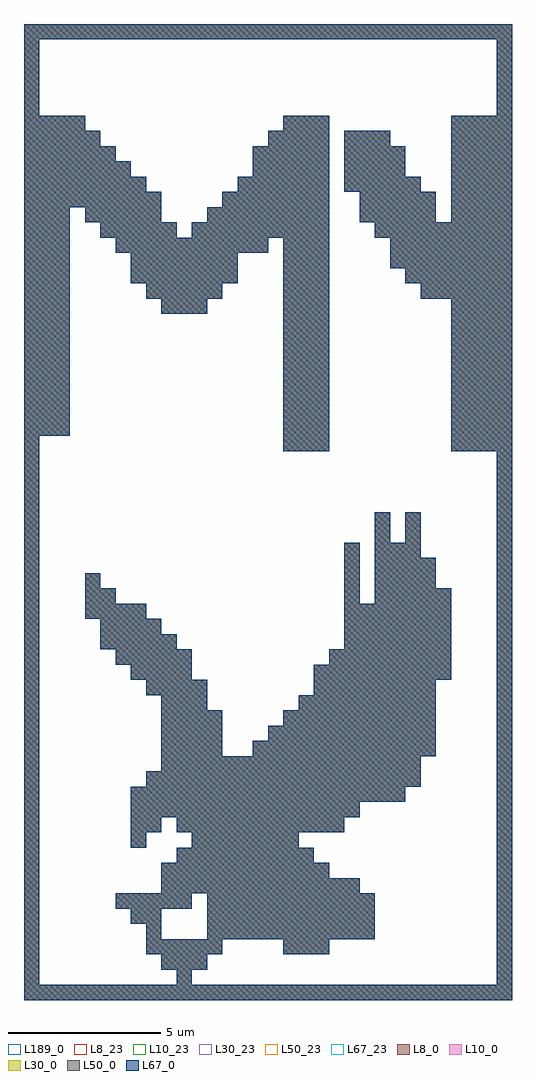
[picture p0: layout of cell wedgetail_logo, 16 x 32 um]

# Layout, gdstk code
import gdstk
lib = gdstk.Library(unit=1e-6, precision=1e-09)
def R(c, l, rs):  # rectangles x0, y0, x1, y1
    for r in rs: c.add(gdstk.rectangle(r[:2], r[2:], *l))
def A(c, l, x, y, w, h, nx, ny, dx, dy):  # array of equal rectangles
    R(c, l, [(x+i*dx, y+j*dy, x+i*dx+w, y+j*dy+h) for i in range(nx) for j in range(ny)])
L8_0 = (8, 0)
L8_23 = (8, 23)
L10_0 = (10, 0)
L10_23 = (10, 23)
L30_0 = (30, 0)
L30_23 = (30, 23)
L50_0 = (50, 0)
L50_23 = (50, 23)
L67_0 = (67, 0)
L67_23 = (67, 23)
L189_0 = (189, 0)

wedgetail_logo = lib.new_cell('wedgetail_logo')
A(wedgetail_logo, L8_0, 0, 0, 0.5, 0.5, 32, 2, 0.5, 31.5)
A(wedgetail_logo, L8_0, 0, 0.5, 0.5, 0.5, 1, 36, 0, 0.5)
A(wedgetail_logo, L8_0, 15.5, 0.5, 0.5, 0.5, 1, 35, 0, 0.5)
A(wedgetail_logo, L8_0, 4.5, 1, 0.5, 0.5, 3, 2, 0.5, 8.5)
A(wedgetail_logo, L8_0, 4, 1.5, 0.5, 0.5, 5, 2, 0.5, 21.5)
A(wedgetail_logo, L8_0, 8.5, 1.5, 0.5, 0.5, 3, 2, 0.5, 16.5)
A(wedgetail_logo, L8_0, 6, 2, 0.5, 0.5, 11, 3, 0.5, 0.5)
A(wedgetail_logo, L8_0, 3, 3, 0.5, 0.5, 5, 2, 0.5, 8)
A(wedgetail_logo, L8_0, 4.5, 3.5, 0.5, 0.5, 13, 1, 0.5, 0)
A(wedgetail_logo, L8_0, 4.5, 4, 0.5, 0.5, 11, 1, 0.5, 0)
A(wedgetail_logo, L8_0, 5, 4.5, 0.5, 0.5, 9, 1, 0.5, 0)
A(wedgetail_logo, L8_0, 5.5, 5, 0.5, 0.5, 7, 1, 0.5, 0)
A(wedgetail_logo, L8_0, 5, 5.5, 0.5, 0.5, 11, 1, 0.5, 0)
A(wedgetail_logo, L8_0, 3.5, 6, 0.5, 0.5, 15, 1, 0.5, 0)
A(wedgetail_logo, L8_0, 3.5, 6.5, 0.5, 0.5, 18, 1, 0.5, 0)
A(wedgetail_logo, L8_0, 4, 7, 0.5, 0.5, 18, 1, 0.5, 0)
A(wedgetail_logo, L8_0, 4.5, 7.5, 0.5, 0.5, 17, 1, 0.5, 0)
A(wedgetail_logo, L8_0, 4.5, 8, 0.5, 0.5, 4, 3, 0.5, 0.5)
A(wedgetail_logo, L8_0, 7.5, 8, 0.5, 0.5, 12, 1, 0.5, 0)
A(wedgetail_logo, L8_0, 8, 8.5, 0.5, 0.5, 11, 1, 0.5, 0)
A(wedgetail_logo, L8_0, 8.5, 9, 0.5, 0.5, 10, 1, 0.5, 0)
A(wedgetail_logo, L8_0, 9, 9.5, 0.5, 0.5, 9, 1, 0.5, 0)
A(wedgetail_logo, L8_0, 4, 10, 0.5, 0.5, 4, 1, 0.5, 0)
A(wedgetail_logo, L8_0, 9.5, 10, 0.5, 0.5, 8, 1, 0.5, 0)
A(wedgetail_logo, L8_0, 3.5, 10.5, 0.5, 0.5, 4, 1, 0.5, 0)
A(wedgetail_logo, L8_0, 9.5, 10.5, 0.5, 0.5, 9, 1, 0.5, 0)
A(wedgetail_logo, L8_0, 10, 11, 0.5, 0.5, 8, 1, 0.5, 0)
A(wedgetail_logo, L8_0, 2.5, 11.5, 0.5, 0.5, 5, 2, 0.5, 13.5)
A(wedgetail_logo, L8_0, 10.5, 11.5, 0.5, 0.5, 7, 3, 0.5, 0.5)
A(wedgetail_logo, L8_0, 2.5, 12, 0.5, 0.5, 4, 1, 0.5, 0)
A(wedgetail_logo, L8_0, 2, 12.5, 0.5, 0.5, 4, 1, 0.5, 0)
A(wedgetail_logo, L8_0, 10.5, 13, 0.5, 0.5, 1, 4, 0, 0.5)
A(wedgetail_logo, L8_0, 11.5, 13, 0.5, 0.5, 5, 1, 0.5, 0)
A(wedgetail_logo, L8_0, 11.5, 13.5, 0.5, 0.5, 4, 2, 0.5, 0.5)
A(wedgetail_logo, L8_0, 11.5, 14.5, 0.5, 0.5, 3, 1, 0.5, 0)
A(wedgetail_logo, L8_0, 14, 18, 0.5, 0.5, 4, 10, 0.5, 0.5)
A(wedgetail_logo, L8_0, 0, 18.5, 0.5, 0.5, 3, 15, 0.5, 0.5)
A(wedgetail_logo, L8_0, 8.5, 18.5, 0.5, 0.5, 3, 13, 0.5, 0.5)
A(wedgetail_logo, L8_0, 4.5, 22.5, 0.5, 0.5, 3, 1, 0.5, 0)
A(wedgetail_logo, L8_0, 13, 23, 0.5, 0.5, 6, 1, 0.5, 0)
A(wedgetail_logo, L8_0, 3.5, 23.5, 0.5, 0.5, 7, 2, 0.5, 0.5)
A(wedgetail_logo, L8_0, 12.5, 23.5, 0.5, 0.5, 7, 1, 0.5, 0)
A(wedgetail_logo, L8_0, 12, 24, 0.5, 0.5, 8, 2, 0.5, 0.5)
A(wedgetail_logo, L8_0, 3, 24.5, 0.5, 0.5, 10, 1, 0.5, 0)
A(wedgetail_logo, L8_0, 5.5, 25, 0.5, 0.5, 9, 1, 0.5, 0)
A(wedgetail_logo, L8_0, 11.5, 25, 0.5, 0.5, 9, 1, 0.5, 0)
A(wedgetail_logo, L8_0, 2, 25.5, 0.5, 0.5, 5, 1, 0.5, 0)
A(wedgetail_logo, L8_0, 6, 25.5, 0.5, 0.5, 8, 1, 0.5, 0)
A(wedgetail_logo, L8_0, 11, 25.5, 0.5, 0.5, 5, 2, 0.5, 0.5)
A(wedgetail_logo, L8_0, 14, 25.5, 0.5, 0.5, 4, 7, 0.5, 0.5)
A(wedgetail_logo, L8_0, 0, 26, 0.5, 0.5, 9, 1, 0.5, 0)
A(wedgetail_logo, L8_0, 6.5, 26, 0.5, 0.5, 7, 1, 0.5, 0)
A(wedgetail_logo, L8_0, 0, 26.5, 0.5, 0.5, 8, 1, 0.5, 0)
A(wedgetail_logo, L8_0, 7, 26.5, 0.5, 0.5, 6, 1, 0.5, 0)
A(wedgetail_logo, L8_0, 10.5, 26.5, 0.5, 0.5, 5, 1, 0.5, 0)
A(wedgetail_logo, L8_0, 0, 27, 0.5, 0.5, 7, 1, 0.5, 0)
A(wedgetail_logo, L8_0, 7.5, 27, 0.5, 0.5, 5, 2, 0.5, 0.5)
A(wedgetail_logo, L8_0, 10.5, 27, 0.5, 0.5, 4, 2, 0.5, 0.5)
A(wedgetail_logo, L8_0, 0, 27.5, 0.5, 0.5, 6, 1, 0.5, 0)
A(wedgetail_logo, L8_0, 0, 28, 0.5, 0.5, 5, 1, 0.5, 0)
A(wedgetail_logo, L8_0, 8, 28, 0.5, 0.5, 4, 1, 0.5, 0)
A(wedgetail_logo, L8_0, 10.5, 28, 0.5, 0.5, 3, 1, 0.5, 0)
A(wedgetail_logo, L8_0, 0, 28.5, 0.5, 0.5, 4, 1, 0.5, 0)
A(wedgetail_logo, L8_0, 8.5, 28.5, 0.5, 0.5, 3, 1, 0.5, 0)
A(wedgetail_logo, L8_0, 0, 29, 0.5, 0.5, 1, 5, 0, 0.5)
A(wedgetail_logo, L8_0, 15.5, 29, 0.5, 0.5, 1, 5, 0, 0.5)
R(wedgetail_logo, L8_0, [(5,0.5,5.5,1), (4,2,4.5,2.5), (3.5,2.5,4,3), (4,2.5,4.5,3), (3.5,5,4,5.5), (3.5,5.5,4,6), (4,5.5,4.5,6), (2,13,2.5,13.5), (2.5,13,3,13.5), (2,13.5,2.5,14), (11.5,15,12,15.5), (12.5,15,13,15.5), (11.5,15.5,12,16), (12.5,15.5,13,16)])
R(wedgetail_logo, L8_23, [(0,0,16,32)])
A(wedgetail_logo, L10_0, 0, 0, 0.5, 0.5, 32, 2, 0.5, 31.5)
A(wedgetail_logo, L10_0, 0, 0.5, 0.5, 0.5, 1, 36, 0, 0.5)
A(wedgetail_logo, L10_0, 15.5, 0.5, 0.5, 0.5, 1, 35, 0, 0.5)
A(wedgetail_logo, L10_0, 4.5, 1, 0.5, 0.5, 3, 2, 0.5, 8.5)
A(wedgetail_logo, L10_0, 4, 1.5, 0.5, 0.5, 5, 2, 0.5, 21.5)
A(wedgetail_logo, L10_0, 8.5, 1.5, 0.5, 0.5, 3, 2, 0.5, 16.5)
A(wedgetail_logo, L10_0, 6, 2, 0.5, 0.5, 11, 3, 0.5, 0.5)
A(wedgetail_logo, L10_0, 3, 3, 0.5, 0.5, 5, 2, 0.5, 8)
A(wedgetail_logo, L10_0, 4.5, 3.5, 0.5, 0.5, 13, 1, 0.5, 0)
A(wedgetail_logo, L10_0, 4.5, 4, 0.5, 0.5, 11, 1, 0.5, 0)
A(wedgetail_logo, L10_0, 5, 4.5, 0.5, 0.5, 9, 1, 0.5, 0)
A(wedgetail_logo, L10_0, 5.5, 5, 0.5, 0.5, 7, 1, 0.5, 0)
A(wedgetail_logo, L10_0, 5, 5.5, 0.5, 0.5, 11, 1, 0.5, 0)
A(wedgetail_logo, L10_0, 3.5, 6, 0.5, 0.5, 15, 1, 0.5, 0)
A(wedgetail_logo, L10_0, 3.5, 6.5, 0.5, 0.5, 18, 1, 0.5, 0)
A(wedgetail_logo, L10_0, 4, 7, 0.5, 0.5, 18, 1, 0.5, 0)
A(wedgetail_logo, L10_0, 4.5, 7.5, 0.5, 0.5, 17, 1, 0.5, 0)
A(wedgetail_logo, L10_0, 4.5, 8, 0.5, 0.5, 4, 3, 0.5, 0.5)
A(wedgetail_logo, L10_0, 7.5, 8, 0.5, 0.5, 12, 1, 0.5, 0)
A(wedgetail_logo, L10_0, 8, 8.5, 0.5, 0.5, 11, 1, 0.5, 0)
A(wedgetail_logo, L10_0, 8.5, 9, 0.5, 0.5, 10, 1, 0.5, 0)
A(wedgetail_logo, L10_0, 9, 9.5, 0.5, 0.5, 9, 1, 0.5, 0)
A(wedgetail_logo, L10_0, 4, 10, 0.5, 0.5, 4, 1, 0.5, 0)
A(wedgetail_logo, L10_0, 9.5, 10, 0.5, 0.5, 8, 1, 0.5, 0)
A(wedgetail_logo, L10_0, 3.5, 10.5, 0.5, 0.5, 4, 1, 0.5, 0)
A(wedgetail_logo, L10_0, 9.5, 10.5, 0.5, 0.5, 9, 1, 0.5, 0)
A(wedgetail_logo, L10_0, 10, 11, 0.5, 0.5, 8, 1, 0.5, 0)
A(wedgetail_logo, L10_0, 2.5, 11.5, 0.5, 0.5, 5, 2, 0.5, 13.5)
A(wedgetail_logo, L10_0, 10.5, 11.5, 0.5, 0.5, 7, 3, 0.5, 0.5)
A(wedgetail_logo, L10_0, 2.5, 12, 0.5, 0.5, 4, 1, 0.5, 0)
A(wedgetail_logo, L10_0, 2, 12.5, 0.5, 0.5, 4, 1, 0.5, 0)
A(wedgetail_logo, L10_0, 10.5, 13, 0.5, 0.5, 1, 4, 0, 0.5)
A(wedgetail_logo, L10_0, 11.5, 13, 0.5, 0.5, 5, 1, 0.5, 0)
A(wedgetail_logo, L10_0, 11.5, 13.5, 0.5, 0.5, 4, 2, 0.5, 0.5)
A(wedgetail_logo, L10_0, 11.5, 14.5, 0.5, 0.5, 3, 1, 0.5, 0)
A(wedgetail_logo, L10_0, 14, 18, 0.5, 0.5, 4, 10, 0.5, 0.5)
A(wedgetail_logo, L10_0, 0, 18.5, 0.5, 0.5, 3, 15, 0.5, 0.5)
A(wedgetail_logo, L10_0, 8.5, 18.5, 0.5, 0.5, 3, 13, 0.5, 0.5)
A(wedgetail_logo, L10_0, 4.5, 22.5, 0.5, 0.5, 3, 1, 0.5, 0)
A(wedgetail_logo, L10_0, 13, 23, 0.5, 0.5, 6, 1, 0.5, 0)
A(wedgetail_logo, L10_0, 3.5, 23.5, 0.5, 0.5, 7, 2, 0.5, 0.5)
A(wedgetail_logo, L10_0, 12.5, 23.5, 0.5, 0.5, 7, 1, 0.5, 0)
A(wedgetail_logo, L10_0, 12, 24, 0.5, 0.5, 8, 2, 0.5, 0.5)
A(wedgetail_logo, L10_0, 3, 24.5, 0.5, 0.5, 10, 1, 0.5, 0)
A(wedgetail_logo, L10_0, 5.5, 25, 0.5, 0.5, 9, 1, 0.5, 0)
A(wedgetail_logo, L10_0, 11.5, 25, 0.5, 0.5, 9, 1, 0.5, 0)
A(wedgetail_logo, L10_0, 2, 25.5, 0.5, 0.5, 5, 1, 0.5, 0)
A(wedgetail_logo, L10_0, 6, 25.5, 0.5, 0.5, 8, 1, 0.5, 0)
A(wedgetail_logo, L10_0, 11, 25.5, 0.5, 0.5, 5, 2, 0.5, 0.5)
A(wedgetail_logo, L10_0, 14, 25.5, 0.5, 0.5, 4, 7, 0.5, 0.5)
A(wedgetail_logo, L10_0, 0, 26, 0.5, 0.5, 9, 1, 0.5, 0)
A(wedgetail_logo, L10_0, 6.5, 26, 0.5, 0.5, 7, 1, 0.5, 0)
A(wedgetail_logo, L10_0, 0, 26.5, 0.5, 0.5, 8, 1, 0.5, 0)
A(wedgetail_logo, L10_0, 7, 26.5, 0.5, 0.5, 6, 1, 0.5, 0)
A(wedgetail_logo, L10_0, 10.5, 26.5, 0.5, 0.5, 5, 1, 0.5, 0)
A(wedgetail_logo, L10_0, 0, 27, 0.5, 0.5, 7, 1, 0.5, 0)
A(wedgetail_logo, L10_0, 7.5, 27, 0.5, 0.5, 5, 2, 0.5, 0.5)
A(wedgetail_logo, L10_0, 10.5, 27, 0.5, 0.5, 4, 2, 0.5, 0.5)
A(wedgetail_logo, L10_0, 0, 27.5, 0.5, 0.5, 6, 1, 0.5, 0)
A(wedgetail_logo, L10_0, 0, 28, 0.5, 0.5, 5, 1, 0.5, 0)
A(wedgetail_logo, L10_0, 8, 28, 0.5, 0.5, 4, 1, 0.5, 0)
A(wedgetail_logo, L10_0, 10.5, 28, 0.5, 0.5, 3, 1, 0.5, 0)
A(wedgetail_logo, L10_0, 0, 28.5, 0.5, 0.5, 4, 1, 0.5, 0)
A(wedgetail_logo, L10_0, 8.5, 28.5, 0.5, 0.5, 3, 1, 0.5, 0)
A(wedgetail_logo, L10_0, 0, 29, 0.5, 0.5, 1, 5, 0, 0.5)
A(wedgetail_logo, L10_0, 15.5, 29, 0.5, 0.5, 1, 5, 0, 0.5)
R(wedgetail_logo, L10_0, [(5,0.5,5.5,1), (4,2,4.5,2.5), (3.5,2.5,4,3), (4,2.5,4.5,3), (3.5,5,4,5.5), (3.5,5.5,4,6), (4,5.5,4.5,6), (2,13,2.5,13.5), (2.5,13,3,13.5), (2,13.5,2.5,14), (11.5,15,12,15.5), (12.5,15,13,15.5), (11.5,15.5,12,16), (12.5,15.5,13,16)])
R(wedgetail_logo, L10_23, [(0,0,16,32)])
A(wedgetail_logo, L30_0, 0, 0, 0.5, 0.5, 32, 2, 0.5, 31.5)
A(wedgetail_logo, L30_0, 0, 0.5, 0.5, 0.5, 1, 36, 0, 0.5)
A(wedgetail_logo, L30_0, 15.5, 0.5, 0.5, 0.5, 1, 35, 0, 0.5)
A(wedgetail_logo, L30_0, 4.5, 1, 0.5, 0.5, 3, 2, 0.5, 8.5)
A(wedgetail_logo, L30_0, 4, 1.5, 0.5, 0.5, 5, 2, 0.5, 21.5)
A(wedgetail_logo, L30_0, 8.5, 1.5, 0.5, 0.5, 3, 2, 0.5, 16.5)
A(wedgetail_logo, L30_0, 6, 2, 0.5, 0.5, 11, 3, 0.5, 0.5)
A(wedgetail_logo, L30_0, 3, 3, 0.5, 0.5, 5, 2, 0.5, 8)
A(wedgetail_logo, L30_0, 4.5, 3.5, 0.5, 0.5, 13, 1, 0.5, 0)
A(wedgetail_logo, L30_0, 4.5, 4, 0.5, 0.5, 11, 1, 0.5, 0)
A(wedgetail_logo, L30_0, 5, 4.5, 0.5, 0.5, 9, 1, 0.5, 0)
A(wedgetail_logo, L30_0, 5.5, 5, 0.5, 0.5, 7, 1, 0.5, 0)
A(wedgetail_logo, L30_0, 5, 5.5, 0.5, 0.5, 11, 1, 0.5, 0)
A(wedgetail_logo, L30_0, 3.5, 6, 0.5, 0.5, 15, 1, 0.5, 0)
A(wedgetail_logo, L30_0, 3.5, 6.5, 0.5, 0.5, 18, 1, 0.5, 0)
A(wedgetail_logo, L30_0, 4, 7, 0.5, 0.5, 18, 1, 0.5, 0)
A(wedgetail_logo, L30_0, 4.5, 7.5, 0.5, 0.5, 17, 1, 0.5, 0)
A(wedgetail_logo, L30_0, 4.5, 8, 0.5, 0.5, 4, 3, 0.5, 0.5)
A(wedgetail_logo, L30_0, 7.5, 8, 0.5, 0.5, 12, 1, 0.5, 0)
A(wedgetail_logo, L30_0, 8, 8.5, 0.5, 0.5, 11, 1, 0.5, 0)
A(wedgetail_logo, L30_0, 8.5, 9, 0.5, 0.5, 10, 1, 0.5, 0)
A(wedgetail_logo, L30_0, 9, 9.5, 0.5, 0.5, 9, 1, 0.5, 0)
A(wedgetail_logo, L30_0, 4, 10, 0.5, 0.5, 4, 1, 0.5, 0)
A(wedgetail_logo, L30_0, 9.5, 10, 0.5, 0.5, 8, 1, 0.5, 0)
A(wedgetail_logo, L30_0, 3.5, 10.5, 0.5, 0.5, 4, 1, 0.5, 0)
A(wedgetail_logo, L30_0, 9.5, 10.5, 0.5, 0.5, 9, 1, 0.5, 0)
A(wedgetail_logo, L30_0, 10, 11, 0.5, 0.5, 8, 1, 0.5, 0)
A(wedgetail_logo, L30_0, 2.5, 11.5, 0.5, 0.5, 5, 2, 0.5, 13.5)
A(wedgetail_logo, L30_0, 10.5, 11.5, 0.5, 0.5, 7, 3, 0.5, 0.5)
A(wedgetail_logo, L30_0, 2.5, 12, 0.5, 0.5, 4, 1, 0.5, 0)
A(wedgetail_logo, L30_0, 2, 12.5, 0.5, 0.5, 4, 1, 0.5, 0)
A(wedgetail_logo, L30_0, 10.5, 13, 0.5, 0.5, 1, 4, 0, 0.5)
A(wedgetail_logo, L30_0, 11.5, 13, 0.5, 0.5, 5, 1, 0.5, 0)
A(wedgetail_logo, L30_0, 11.5, 13.5, 0.5, 0.5, 4, 2, 0.5, 0.5)
A(wedgetail_logo, L30_0, 11.5, 14.5, 0.5, 0.5, 3, 1, 0.5, 0)
A(wedgetail_logo, L30_0, 14, 18, 0.5, 0.5, 4, 10, 0.5, 0.5)
A(wedgetail_logo, L30_0, 0, 18.5, 0.5, 0.5, 3, 15, 0.5, 0.5)
A(wedgetail_logo, L30_0, 8.5, 18.5, 0.5, 0.5, 3, 13, 0.5, 0.5)
A(wedgetail_logo, L30_0, 4.5, 22.5, 0.5, 0.5, 3, 1, 0.5, 0)
A(wedgetail_logo, L30_0, 13, 23, 0.5, 0.5, 6, 1, 0.5, 0)
A(wedgetail_logo, L30_0, 3.5, 23.5, 0.5, 0.5, 7, 2, 0.5, 0.5)
A(wedgetail_logo, L30_0, 12.5, 23.5, 0.5, 0.5, 7, 1, 0.5, 0)
A(wedgetail_logo, L30_0, 12, 24, 0.5, 0.5, 8, 2, 0.5, 0.5)
A(wedgetail_logo, L30_0, 3, 24.5, 0.5, 0.5, 10, 1, 0.5, 0)
A(wedgetail_logo, L30_0, 5.5, 25, 0.5, 0.5, 9, 1, 0.5, 0)
A(wedgetail_logo, L30_0, 11.5, 25, 0.5, 0.5, 9, 1, 0.5, 0)
A(wedgetail_logo, L30_0, 2, 25.5, 0.5, 0.5, 5, 1, 0.5, 0)
A(wedgetail_logo, L30_0, 6, 25.5, 0.5, 0.5, 8, 1, 0.5, 0)
A(wedgetail_logo, L30_0, 11, 25.5, 0.5, 0.5, 5, 2, 0.5, 0.5)
A(wedgetail_logo, L30_0, 14, 25.5, 0.5, 0.5, 4, 7, 0.5, 0.5)
A(wedgetail_logo, L30_0, 0, 26, 0.5, 0.5, 9, 1, 0.5, 0)
A(wedgetail_logo, L30_0, 6.5, 26, 0.5, 0.5, 7, 1, 0.5, 0)
A(wedgetail_logo, L30_0, 0, 26.5, 0.5, 0.5, 8, 1, 0.5, 0)
A(wedgetail_logo, L30_0, 7, 26.5, 0.5, 0.5, 6, 1, 0.5, 0)
A(wedgetail_logo, L30_0, 10.5, 26.5, 0.5, 0.5, 5, 1, 0.5, 0)
A(wedgetail_logo, L30_0, 0, 27, 0.5, 0.5, 7, 1, 0.5, 0)
A(wedgetail_logo, L30_0, 7.5, 27, 0.5, 0.5, 5, 2, 0.5, 0.5)
A(wedgetail_logo, L30_0, 10.5, 27, 0.5, 0.5, 4, 2, 0.5, 0.5)
A(wedgetail_logo, L30_0, 0, 27.5, 0.5, 0.5, 6, 1, 0.5, 0)
A(wedgetail_logo, L30_0, 0, 28, 0.5, 0.5, 5, 1, 0.5, 0)
A(wedgetail_logo, L30_0, 8, 28, 0.5, 0.5, 4, 1, 0.5, 0)
A(wedgetail_logo, L30_0, 10.5, 28, 0.5, 0.5, 3, 1, 0.5, 0)
A(wedgetail_logo, L30_0, 0, 28.5, 0.5, 0.5, 4, 1, 0.5, 0)
A(wedgetail_logo, L30_0, 8.5, 28.5, 0.5, 0.5, 3, 1, 0.5, 0)
A(wedgetail_logo, L30_0, 0, 29, 0.5, 0.5, 1, 5, 0, 0.5)
A(wedgetail_logo, L30_0, 15.5, 29, 0.5, 0.5, 1, 5, 0, 0.5)
R(wedgetail_logo, L30_0, [(5,0.5,5.5,1), (4,2,4.5,2.5), (3.5,2.5,4,3), (4,2.5,4.5,3), (3.5,5,4,5.5), (3.5,5.5,4,6), (4,5.5,4.5,6), (2,13,2.5,13.5), (2.5,13,3,13.5), (2,13.5,2.5,14), (11.5,15,12,15.5), (12.5,15,13,15.5), (11.5,15.5,12,16), (12.5,15.5,13,16)])
R(wedgetail_logo, L30_23, [(0,0,16,32)])
A(wedgetail_logo, L50_0, 0, 0, 0.5, 0.5, 32, 2, 0.5, 31.5)
A(wedgetail_logo, L50_0, 0, 0.5, 0.5, 0.5, 1, 36, 0, 0.5)
A(wedgetail_logo, L50_0, 15.5, 0.5, 0.5, 0.5, 1, 35, 0, 0.5)
A(wedgetail_logo, L50_0, 4.5, 1, 0.5, 0.5, 3, 2, 0.5, 8.5)
A(wedgetail_logo, L50_0, 4, 1.5, 0.5, 0.5, 5, 2, 0.5, 21.5)
A(wedgetail_logo, L50_0, 8.5, 1.5, 0.5, 0.5, 3, 2, 0.5, 16.5)
A(wedgetail_logo, L50_0, 6, 2, 0.5, 0.5, 11, 3, 0.5, 0.5)
A(wedgetail_logo, L50_0, 3, 3, 0.5, 0.5, 5, 2, 0.5, 8)
A(wedgetail_logo, L50_0, 4.5, 3.5, 0.5, 0.5, 13, 1, 0.5, 0)
A(wedgetail_logo, L50_0, 4.5, 4, 0.5, 0.5, 11, 1, 0.5, 0)
A(wedgetail_logo, L50_0, 5, 4.5, 0.5, 0.5, 9, 1, 0.5, 0)
A(wedgetail_logo, L50_0, 5.5, 5, 0.5, 0.5, 7, 1, 0.5, 0)
A(wedgetail_logo, L50_0, 5, 5.5, 0.5, 0.5, 11, 1, 0.5, 0)
A(wedgetail_logo, L50_0, 3.5, 6, 0.5, 0.5, 15, 1, 0.5, 0)
A(wedgetail_logo, L50_0, 3.5, 6.5, 0.5, 0.5, 18, 1, 0.5, 0)
A(wedgetail_logo, L50_0, 4, 7, 0.5, 0.5, 18, 1, 0.5, 0)
A(wedgetail_logo, L50_0, 4.5, 7.5, 0.5, 0.5, 17, 1, 0.5, 0)
A(wedgetail_logo, L50_0, 4.5, 8, 0.5, 0.5, 4, 3, 0.5, 0.5)
A(wedgetail_logo, L50_0, 7.5, 8, 0.5, 0.5, 12, 1, 0.5, 0)
A(wedgetail_logo, L50_0, 8, 8.5, 0.5, 0.5, 11, 1, 0.5, 0)
A(wedgetail_logo, L50_0, 8.5, 9, 0.5, 0.5, 10, 1, 0.5, 0)
A(wedgetail_logo, L50_0, 9, 9.5, 0.5, 0.5, 9, 1, 0.5, 0)
A(wedgetail_logo, L50_0, 4, 10, 0.5, 0.5, 4, 1, 0.5, 0)
A(wedgetail_logo, L50_0, 9.5, 10, 0.5, 0.5, 8, 1, 0.5, 0)
A(wedgetail_logo, L50_0, 3.5, 10.5, 0.5, 0.5, 4, 1, 0.5, 0)
A(wedgetail_logo, L50_0, 9.5, 10.5, 0.5, 0.5, 9, 1, 0.5, 0)
A(wedgetail_logo, L50_0, 10, 11, 0.5, 0.5, 8, 1, 0.5, 0)
A(wedgetail_logo, L50_0, 2.5, 11.5, 0.5, 0.5, 5, 2, 0.5, 13.5)
A(wedgetail_logo, L50_0, 10.5, 11.5, 0.5, 0.5, 7, 3, 0.5, 0.5)
A(wedgetail_logo, L50_0, 2.5, 12, 0.5, 0.5, 4, 1, 0.5, 0)
A(wedgetail_logo, L50_0, 2, 12.5, 0.5, 0.5, 4, 1, 0.5, 0)
A(wedgetail_logo, L50_0, 10.5, 13, 0.5, 0.5, 1, 4, 0, 0.5)
A(wedgetail_logo, L50_0, 11.5, 13, 0.5, 0.5, 5, 1, 0.5, 0)
A(wedgetail_logo, L50_0, 11.5, 13.5, 0.5, 0.5, 4, 2, 0.5, 0.5)
A(wedgetail_logo, L50_0, 11.5, 14.5, 0.5, 0.5, 3, 1, 0.5, 0)
A(wedgetail_logo, L50_0, 14, 18, 0.5, 0.5, 4, 10, 0.5, 0.5)
A(wedgetail_logo, L50_0, 0, 18.5, 0.5, 0.5, 3, 15, 0.5, 0.5)
A(wedgetail_logo, L50_0, 8.5, 18.5, 0.5, 0.5, 3, 13, 0.5, 0.5)
A(wedgetail_logo, L50_0, 4.5, 22.5, 0.5, 0.5, 3, 1, 0.5, 0)
A(wedgetail_logo, L50_0, 13, 23, 0.5, 0.5, 6, 1, 0.5, 0)
A(wedgetail_logo, L50_0, 3.5, 23.5, 0.5, 0.5, 7, 2, 0.5, 0.5)
A(wedgetail_logo, L50_0, 12.5, 23.5, 0.5, 0.5, 7, 1, 0.5, 0)
A(wedgetail_logo, L50_0, 12, 24, 0.5, 0.5, 8, 2, 0.5, 0.5)
A(wedgetail_logo, L50_0, 3, 24.5, 0.5, 0.5, 10, 1, 0.5, 0)
A(wedgetail_logo, L50_0, 5.5, 25, 0.5, 0.5, 9, 1, 0.5, 0)
A(wedgetail_logo, L50_0, 11.5, 25, 0.5, 0.5, 9, 1, 0.5, 0)
A(wedgetail_logo, L50_0, 2, 25.5, 0.5, 0.5, 5, 1, 0.5, 0)
A(wedgetail_logo, L50_0, 6, 25.5, 0.5, 0.5, 8, 1, 0.5, 0)
A(wedgetail_logo, L50_0, 11, 25.5, 0.5, 0.5, 5, 2, 0.5, 0.5)
A(wedgetail_logo, L50_0, 14, 25.5, 0.5, 0.5, 4, 7, 0.5, 0.5)
A(wedgetail_logo, L50_0, 0, 26, 0.5, 0.5, 9, 1, 0.5, 0)
A(wedgetail_logo, L50_0, 6.5, 26, 0.5, 0.5, 7, 1, 0.5, 0)
A(wedgetail_logo, L50_0, 0, 26.5, 0.5, 0.5, 8, 1, 0.5, 0)
A(wedgetail_logo, L50_0, 7, 26.5, 0.5, 0.5, 6, 1, 0.5, 0)
A(wedgetail_logo, L50_0, 10.5, 26.5, 0.5, 0.5, 5, 1, 0.5, 0)
A(wedgetail_logo, L50_0, 0, 27, 0.5, 0.5, 7, 1, 0.5, 0)
A(wedgetail_logo, L50_0, 7.5, 27, 0.5, 0.5, 5, 2, 0.5, 0.5)
A(wedgetail_logo, L50_0, 10.5, 27, 0.5, 0.5, 4, 2, 0.5, 0.5)
A(wedgetail_logo, L50_0, 0, 27.5, 0.5, 0.5, 6, 1, 0.5, 0)
A(wedgetail_logo, L50_0, 0, 28, 0.5, 0.5, 5, 1, 0.5, 0)
A(wedgetail_logo, L50_0, 8, 28, 0.5, 0.5, 4, 1, 0.5, 0)
A(wedgetail_logo, L50_0, 10.5, 28, 0.5, 0.5, 3, 1, 0.5, 0)
A(wedgetail_logo, L50_0, 0, 28.5, 0.5, 0.5, 4, 1, 0.5, 0)
A(wedgetail_logo, L50_0, 8.5, 28.5, 0.5, 0.5, 3, 1, 0.5, 0)
A(wedgetail_logo, L50_0, 0, 29, 0.5, 0.5, 1, 5, 0, 0.5)
A(wedgetail_logo, L50_0, 15.5, 29, 0.5, 0.5, 1, 5, 0, 0.5)
R(wedgetail_logo, L50_0, [(5,0.5,5.5,1), (4,2,4.5,2.5), (3.5,2.5,4,3), (4,2.5,4.5,3), (3.5,5,4,5.5), (3.5,5.5,4,6), (4,5.5,4.5,6), (2,13,2.5,13.5), (2.5,13,3,13.5), (2,13.5,2.5,14), (11.5,15,12,15.5), (12.5,15,13,15.5), (11.5,15.5,12,16), (12.5,15.5,13,16)])
R(wedgetail_logo, L50_23, [(0,0,16,32)])
A(wedgetail_logo, L67_0, 0, 0, 0.5, 0.5, 32, 2, 0.5, 31.5)
A(wedgetail_logo, L67_0, 0, 0.5, 0.5, 0.5, 1, 36, 0, 0.5)
A(wedgetail_logo, L67_0, 15.5, 0.5, 0.5, 0.5, 1, 35, 0, 0.5)
A(wedgetail_logo, L67_0, 4.5, 1, 0.5, 0.5, 3, 2, 0.5, 8.5)
A(wedgetail_logo, L67_0, 4, 1.5, 0.5, 0.5, 5, 2, 0.5, 21.5)
A(wedgetail_logo, L67_0, 8.5, 1.5, 0.5, 0.5, 3, 2, 0.5, 16.5)
A(wedgetail_logo, L67_0, 6, 2, 0.5, 0.5, 11, 3, 0.5, 0.5)
A(wedgetail_logo, L67_0, 3, 3, 0.5, 0.5, 5, 2, 0.5, 8)
A(wedgetail_logo, L67_0, 4.5, 3.5, 0.5, 0.5, 13, 1, 0.5, 0)
A(wedgetail_logo, L67_0, 4.5, 4, 0.5, 0.5, 11, 1, 0.5, 0)
A(wedgetail_logo, L67_0, 5, 4.5, 0.5, 0.5, 9, 1, 0.5, 0)
A(wedgetail_logo, L67_0, 5.5, 5, 0.5, 0.5, 7, 1, 0.5, 0)
A(wedgetail_logo, L67_0, 5, 5.5, 0.5, 0.5, 11, 1, 0.5, 0)
A(wedgetail_logo, L67_0, 3.5, 6, 0.5, 0.5, 15, 1, 0.5, 0)
A(wedgetail_logo, L67_0, 3.5, 6.5, 0.5, 0.5, 18, 1, 0.5, 0)
A(wedgetail_logo, L67_0, 4, 7, 0.5, 0.5, 18, 1, 0.5, 0)
A(wedgetail_logo, L67_0, 4.5, 7.5, 0.5, 0.5, 17, 1, 0.5, 0)
A(wedgetail_logo, L67_0, 4.5, 8, 0.5, 0.5, 4, 3, 0.5, 0.5)
A(wedgetail_logo, L67_0, 7.5, 8, 0.5, 0.5, 12, 1, 0.5, 0)
A(wedgetail_logo, L67_0, 8, 8.5, 0.5, 0.5, 11, 1, 0.5, 0)
A(wedgetail_logo, L67_0, 8.5, 9, 0.5, 0.5, 10, 1, 0.5, 0)
A(wedgetail_logo, L67_0, 9, 9.5, 0.5, 0.5, 9, 1, 0.5, 0)
A(wedgetail_logo, L67_0, 4, 10, 0.5, 0.5, 4, 1, 0.5, 0)
A(wedgetail_logo, L67_0, 9.5, 10, 0.5, 0.5, 8, 1, 0.5, 0)
A(wedgetail_logo, L67_0, 3.5, 10.5, 0.5, 0.5, 4, 1, 0.5, 0)
A(wedgetail_logo, L67_0, 9.5, 10.5, 0.5, 0.5, 9, 1, 0.5, 0)
A(wedgetail_logo, L67_0, 10, 11, 0.5, 0.5, 8, 1, 0.5, 0)
A(wedgetail_logo, L67_0, 2.5, 11.5, 0.5, 0.5, 5, 2, 0.5, 13.5)
A(wedgetail_logo, L67_0, 10.5, 11.5, 0.5, 0.5, 7, 3, 0.5, 0.5)
A(wedgetail_logo, L67_0, 2.5, 12, 0.5, 0.5, 4, 1, 0.5, 0)
A(wedgetail_logo, L67_0, 2, 12.5, 0.5, 0.5, 4, 1, 0.5, 0)
A(wedgetail_logo, L67_0, 10.5, 13, 0.5, 0.5, 1, 4, 0, 0.5)
A(wedgetail_logo, L67_0, 11.5, 13, 0.5, 0.5, 5, 1, 0.5, 0)
A(wedgetail_logo, L67_0, 11.5, 13.5, 0.5, 0.5, 4, 2, 0.5, 0.5)
A(wedgetail_logo, L67_0, 11.5, 14.5, 0.5, 0.5, 3, 1, 0.5, 0)
A(wedgetail_logo, L67_0, 14, 18, 0.5, 0.5, 4, 10, 0.5, 0.5)
A(wedgetail_logo, L67_0, 0, 18.5, 0.5, 0.5, 3, 15, 0.5, 0.5)
A(wedgetail_logo, L67_0, 8.5, 18.5, 0.5, 0.5, 3, 13, 0.5, 0.5)
A(wedgetail_logo, L67_0, 4.5, 22.5, 0.5, 0.5, 3, 1, 0.5, 0)
A(wedgetail_logo, L67_0, 13, 23, 0.5, 0.5, 6, 1, 0.5, 0)
A(wedgetail_logo, L67_0, 3.5, 23.5, 0.5, 0.5, 7, 2, 0.5, 0.5)
A(wedgetail_logo, L67_0, 12.5, 23.5, 0.5, 0.5, 7, 1, 0.5, 0)
A(wedgetail_logo, L67_0, 12, 24, 0.5, 0.5, 8, 2, 0.5, 0.5)
A(wedgetail_logo, L67_0, 3, 24.5, 0.5, 0.5, 10, 1, 0.5, 0)
A(wedgetail_logo, L67_0, 5.5, 25, 0.5, 0.5, 9, 1, 0.5, 0)
A(wedgetail_logo, L67_0, 11.5, 25, 0.5, 0.5, 9, 1, 0.5, 0)
A(wedgetail_logo, L67_0, 2, 25.5, 0.5, 0.5, 5, 1, 0.5, 0)
A(wedgetail_logo, L67_0, 6, 25.5, 0.5, 0.5, 8, 1, 0.5, 0)
A(wedgetail_logo, L67_0, 11, 25.5, 0.5, 0.5, 5, 2, 0.5, 0.5)
A(wedgetail_logo, L67_0, 14, 25.5, 0.5, 0.5, 4, 7, 0.5, 0.5)
A(wedgetail_logo, L67_0, 0, 26, 0.5, 0.5, 9, 1, 0.5, 0)
A(wedgetail_logo, L67_0, 6.5, 26, 0.5, 0.5, 7, 1, 0.5, 0)
A(wedgetail_logo, L67_0, 0, 26.5, 0.5, 0.5, 8, 1, 0.5, 0)
A(wedgetail_logo, L67_0, 7, 26.5, 0.5, 0.5, 6, 1, 0.5, 0)
A(wedgetail_logo, L67_0, 10.5, 26.5, 0.5, 0.5, 5, 1, 0.5, 0)
A(wedgetail_logo, L67_0, 0, 27, 0.5, 0.5, 7, 1, 0.5, 0)
A(wedgetail_logo, L67_0, 7.5, 27, 0.5, 0.5, 5, 2, 0.5, 0.5)
A(wedgetail_logo, L67_0, 10.5, 27, 0.5, 0.5, 4, 2, 0.5, 0.5)
A(wedgetail_logo, L67_0, 0, 27.5, 0.5, 0.5, 6, 1, 0.5, 0)
A(wedgetail_logo, L67_0, 0, 28, 0.5, 0.5, 5, 1, 0.5, 0)
A(wedgetail_logo, L67_0, 8, 28, 0.5, 0.5, 4, 1, 0.5, 0)
A(wedgetail_logo, L67_0, 10.5, 28, 0.5, 0.5, 3, 1, 0.5, 0)
A(wedgetail_logo, L67_0, 0, 28.5, 0.5, 0.5, 4, 1, 0.5, 0)
A(wedgetail_logo, L67_0, 8.5, 28.5, 0.5, 0.5, 3, 1, 0.5, 0)
A(wedgetail_logo, L67_0, 0, 29, 0.5, 0.5, 1, 5, 0, 0.5)
A(wedgetail_logo, L67_0, 15.5, 29, 0.5, 0.5, 1, 5, 0, 0.5)
R(wedgetail_logo, L67_0, [(5,0.5,5.5,1), (4,2,4.5,2.5), (3.5,2.5,4,3), (4,2.5,4.5,3), (3.5,5,4,5.5), (3.5,5.5,4,6), (4,5.5,4.5,6), (2,13,2.5,13.5), (2.5,13,3,13.5), (2,13.5,2.5,14), (11.5,15,12,15.5), (12.5,15,13,15.5), (11.5,15.5,12,16), (12.5,15.5,13,16)])
R(wedgetail_logo, L67_23, [(0,0,16,32)])
R(wedgetail_logo, L189_0, [(0,0,16,32)])

lib.write_gds('wedgetail_logo.gds')
